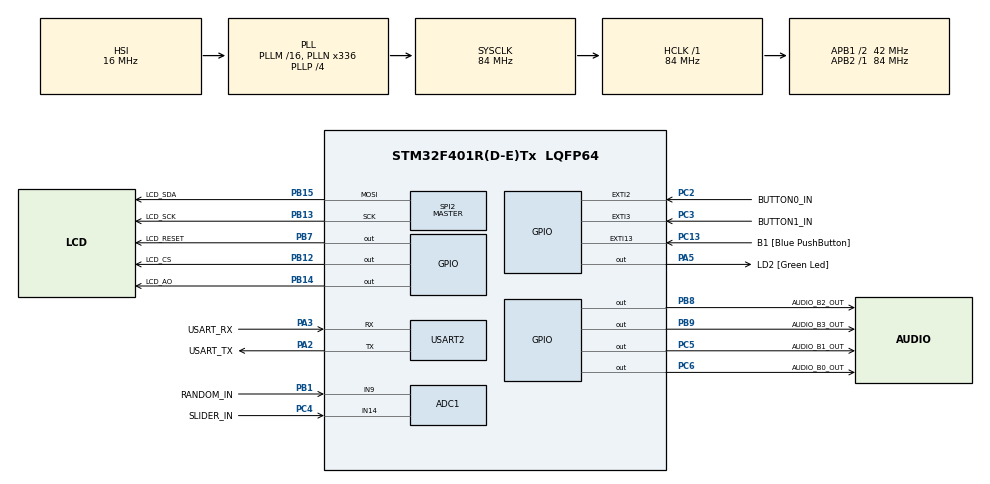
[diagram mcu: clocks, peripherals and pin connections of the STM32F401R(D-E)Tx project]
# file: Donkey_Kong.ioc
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ADC1.Channel-4\#ChannelRegularConversion=ADC_CHANNEL_14
ADC1.ContinuousConvMode=ENABLE
ADC1.NbrOfConversionFlag=1
ADC1.Rank-4\#ChannelRegularConversion=1
ADC1.SamplingTime-4\#ChannelRegularConversion=ADC_SAMPLETIME_3CYCLES
ADC1.master=1
Mcu.Family=STM32F4
Mcu.Name=STM32F401R(D-E)Tx
Mcu.Package=LQFP64
NVIC.EXTI2_IRQn=true\:0\:0\:false\:false\:true\:true\:true\:true
NVIC.EXTI3_IRQn=true\:0\:0\:false\:false\:true\:true\:true\:true
NVIC.PriorityGroup=NVIC_PRIORITYGROUP_4
NVIC.TIM1_UP_TIM10_IRQn=true\:0\:0\:false\:false\:true\:true\:true\:true
NVIC.TIM2_IRQn=true\:0\:0\:false\:false\:true\:true\:true\:true
NVIC.TIM5_IRQn=true\:0\:0\:false\:false\:true\:true\:true\:true
PA13.GPIO_Label=TMS
PA13.Mode=Trace_Asynchronous_SW
PA13.Signal=SYS_JTMS-SWDIO
PA14.GPIO_Label=TCK
PA14.Mode=Trace_Asynchronous_SW
PA14.Signal=SYS_JTCK-SWCLK
PA2.GPIO_Label=USART_TX
PA2.GPIO_Mode=GPIO_MODE_AF_PP
PA2.GPIO_PuPd=GPIO_NOPULL
PA2.GPIO_Speed=GPIO_SPEED_FREQ_LOW
PA2.Mode=Asynchronous
PA2.Signal=USART2_TX
PA3.GPIO_Label=USART_RX
PA3.GPIO_Mode=GPIO_MODE_AF_PP
PA3.GPIO_PuPd=GPIO_NOPULL
PA3.GPIO_Speed=GPIO_SPEED_FREQ_LOW
PA3.Mode=Asynchronous
PA3.Signal=USART2_RX
PA5.GPIO_Label=LD2 [Green Led]
PA5.GPIO_Mode=GPIO_MODE_OUTPUT_PP
PA5.GPIO_PuPd=GPIO_NOPULL
PA5.GPIO_Speed=GPIO_SPEED_FREQ_LOW
PA5.Signal=GPIO_Output
PB1.GPIO_Label=RANDOM_IN
PB1.Signal=ADCx_IN9
PB12.GPIO_Label=LCD_CS
PB12.Signal=GPIO_Output
PB13.GPIO_Label=LCD_SCK
PB13.Mode=TX_Only_Simplex_Unidirect_Master
PB13.Signal=SPI2_SCK
PB14.GPIO_Label=LCD_AO
PB14.Signal=GPIO_Output
PB15.GPIO_Label=LCD_SDA
PB15.Mode=TX_Only_Simplex_Unidirect_Master
PB15.Signal=SPI2_MOSI
PB3.GPIO_Label=SWO
PB3.Mode=Trace_Asynchronous_SW
PB3.Signal=SYS_JTDO-SWO
PB7.GPIO_Label=LCD_RESET
PB7.Signal=GPIO_Output
PB8.GPIO_Label=AUDIO_B2_OUT
PB8.Signal=GPIO_Output
PB9.GPIO_Label=AUDIO_B3_OUT
PB9.Signal=GPIO_Output
PC13-ANTI_TAMP.GPIO_Label=B1 [Blue PushButton]
PC13-ANTI_TAMP.GPIO_ModeDefaultEXTI=GPIO_MODE_IT_FALLING
PC13-ANTI_TAMP.GPIO_PuPd=GPIO_NOPULL
PC13-ANTI_TAMP.Signal=GPXTI13
PC14-OSC32_IN.Mode=LSE-External-Oscillator
PC14-OSC32_IN.Signal=RCC_OSC32_IN
PC15-OSC32_OUT.Mode=LSE-External-Oscillator
PC15-OSC32_OUT.Signal=RCC_OSC32_OUT
PC2.GPIO_Label=BUTTON0_IN
PC2.GPIO_ModeDefaultEXTI=GPIO_MODE_IT_RISING_FALLING
PC2.Signal=GPXTI2
PC3.GPIO_Label=BUTTON1_IN
PC3.GPIO_ModeDefaultEXTI=GPIO_MODE_IT_FALLING
PC3.Signal=GPXTI3
PC4.GPIO_Label=SLIDER_IN
PC4.Signal=ADCx_IN14
PC5.GPIO_Label=AUDIO_B1_OUT
PC5.Signal=GPIO_Output
PC6.GPIO_Label=AUDIO_B0_OUT
PC6.Signal=GPIO_Output
PH0\ -\ OSC_IN.Mode=HSE-External-Clock-Source
PH0\ -\ OSC_IN.Signal=RCC_OSC_IN
PH1\ -\ OSC_OUT.Mode=HSE-External-Clock-Source
PH1\ -\ OSC_OUT.Signal=RCC_OSC_OUT
ProjectManager.HeapSize=0x200
ProjectManager.StackSize=0x400
ProjectManager.TargetToolchain=STM32CubeIDE
RCC.48MHZClocksFreq_Value=48000000
RCC.AHBFreq_Value=84000000
RCC.APB1CLKDivider=RCC_HCLK_DIV2
RCC.APB1Freq_Value=42000000
RCC.APB1TimFreq_Value=84000000
RCC.APB2Freq_Value=84000000
RCC.APB2TimFreq_Value=84000000
RCC.CortexFreq_Value=84000000
RCC.HCLKFreq_Value=84000000
RCC.HSE_VALUE=8000000
RCC.HSI_VALUE=16000000
RCC.PLLN=336
RCC.PLLP=RCC_PLLP_DIV4
RCC.PLLQ=7
RCC.SYSCLKFreq_VALUE=84000000
RCC.SYSCLKSource=RCC_SYSCLKSOURCE_PLLCLK
RCC.VCOOutputFreq_Value=336000000
SH.ADCx_IN14.0=ADC1_IN14,IN14
SH.ADCx_IN9.0=ADC1_IN9,IN9
SPI2.Direction=SPI_DIRECTION_2LINES
SPI2.Mode=SPI_MODE_MASTER
SPI2.VirtualType=VM_MASTER
TIM1.AutoReloadPreload=TIM_AUTORELOAD_PRELOAD_ENABLE
TIM1.Period=0
TIM2.AutoReloadPreload=TIM_AUTORELOAD_PRELOAD_ENABLE
TIM2.Period=2800000
TIM5.Period=84000000
USART2.VirtualMode=VM_ASYNC
VP_TIM1_VS_ClockSourceINT.Mode=Internal
VP_TIM2_VS_ClockSourceINT.Mode=Internal
VP_TIM5_VS_ClockSourceINT.Mode=Internal
board=NUCLEO-F401RE

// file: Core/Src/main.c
/* USER CODE BEGIN Header */
/**
 ******************************************************************************
 * @file           : main.c
 * @brief          : Main program body
 ******************************************************************************
 * @attention
 *
 * Copyright (c) 2025 STMicroelectronics.
 * All rights reserved.
 *
 * This software is licensed under terms that can be found in the LICENSE file
 * in the root directory of this software component.
 * If no LICENSE file comes with this software, it is provided AS-IS.
 *
 ******************************************************************************
 */
/* USER CODE END Header */
#include "main.h"

/* USER CODE BEGIN Includes */
#include "slider.h"
#include "button.h"
#include "audio.h"
#include "st7735.h"
#include "fonts.h"
#include "testimg.h"
#include "game.h"
//#include "graphics.h"

#include <stdio.h>

/* USER CODE END Includes */

ADC_HandleTypeDef hadc1;

SPI_HandleTypeDef hspi2;

UART_HandleTypeDef huart2;

void SystemClock_Config(void);
static void MX_GPIO_Init(void);
static void MX_USART2_UART_Init(void);
static void MX_ADC1_Init(void);
static void MX_TIM2_Init(void);
static void MX_TIM5_Init(void);
static void MX_SPI2_Init(void);
static void MX_TIM1_Init(void);

int main(void)
{

  /* MCU Configuration--------------------------------------------------------*/

  /* Reset of all peripherals, Initializes the Flash interface and the Systick. */
  HAL_Init();

  /* Configure the system clock */
  SystemClock_Config();

  /* Initialize all configured peripherals */
  MX_GPIO_Init();
  MX_USART2_UART_Init();
  MX_ADC1_Init();
  MX_TIM2_Init();
  MX_TIM5_Init();
  MX_SPI2_Init();
  MX_TIM1_Init();

  /* Infinite loop */
  /* USER CODE BEGIN WHILE */
	while (1) {
		gameplay();
    /* USER CODE END WHILE */

	}
}

void SystemClock_Config(void)
{
  RCC_OscInitTypeDef RCC_OscInitStruct = {0};
  RCC_ClkInitTypeDef RCC_ClkInitStruct = {0};

  /** Configure the main internal regulator output voltage
  */
  __HAL_RCC_PWR_CLK_ENABLE();
  __HAL_PWR_VOLTAGESCALING_CONFIG(PWR_REGULATOR_VOLTAGE_SCALE2);

  /** Initializes the RCC Oscillators according to the specified parameters
  * in the RCC_OscInitTypeDef structure.
  */
  RCC_OscInitStruct.OscillatorType = RCC_OSCILLATORTYPE_HSI;
  RCC_OscInitStruct.HSIState = RCC_HSI_ON;
  RCC_OscInitStruct.HSICalibrationValue = RCC_HSICALIBRATION_DEFAULT;
  RCC_OscInitStruct.PLL.PLLState = RCC_PLL_ON;
  RCC_OscInitStruct.PLL.PLLSource = RCC_PLLSOURCE_HSI;
  RCC_OscInitStruct.PLL.PLLM = 16;
  RCC_OscInitStruct.PLL.PLLN = 336;
  RCC_OscInitStruct.PLL.PLLP = RCC_PLLP_DIV4;
  RCC_OscInitStruct.PLL.PLLQ = 7;
  if (HAL_RCC_OscConfig(&RCC_OscInitStruct) != HAL_OK)
  {
    Error_Handler();
  }

  /** Initializes the CPU, AHB and APB buses clocks
  */
  RCC_ClkInitStruct.ClockType = RCC_CLOCKTYPE_HCLK|RCC_CLOCKTYPE_SYSCLK
                              |RCC_CLOCKTYPE_PCLK1|RCC_CLOCKTYPE_PCLK2;
  RCC_ClkInitStruct.SYSCLKSource = RCC_SYSCLKSOURCE_PLLCLK;
  RCC_ClkInitStruct.AHBCLKDivider = RCC_SYSCLK_DIV1;
  RCC_ClkInitStruct.APB1CLKDivider = RCC_HCLK_DIV2;
  RCC_ClkInitStruct.APB2CLKDivider = RCC_HCLK_DIV1;

  if (HAL_RCC_ClockConfig(&RCC_ClkInitStruct, FLASH_LATENCY_2) != HAL_OK)
  {
    Error_Handler();
  }
}

static void MX_ADC1_Init(void)
{

  ADC_ChannelConfTypeDef sConfig = {0};

  /** Configure the global features of the ADC (Clock, Resolution, Data Alignment and number of conversion)
  */
  hadc1.Instance = ADC1;
  hadc1.Init.ClockPrescaler = ADC_CLOCK_SYNC_PCLK_DIV4;
  hadc1.Init.Resolution = ADC_RESOLUTION_12B;
  hadc1.Init.ScanConvMode = DISABLE;
  hadc1.Init.ContinuousConvMode = ENABLE;
  hadc1.Init.DiscontinuousConvMode = DISABLE;
  hadc1.Init.ExternalTrigConvEdge = ADC_EXTERNALTRIGCONVEDGE_NONE;
  hadc1.Init.ExternalTrigConv = ADC_SOFTWARE_START;
  hadc1.Init.DataAlign = ADC_DATAALIGN_RIGHT;
  hadc1.Init.NbrOfConversion = 1;
  hadc1.Init.DMAContinuousRequests = DISABLE;
  hadc1.Init.EOCSelection = ADC_EOC_SINGLE_CONV;
  if (HAL_ADC_Init(&hadc1) != HAL_OK)
  {
    Error_Handler();
  }

  /** Configure for the selected ADC regular channel its corresponding rank in the sequencer and its sample time.
  */
  sConfig.Channel = ADC_CHANNEL_14;
  sConfig.Rank = 1;
  sConfig.SamplingTime = ADC_SAMPLETIME_3CYCLES;
  if (HAL_ADC_ConfigChannel(&hadc1, &sConfig) != HAL_OK)
  {
    Error_Handler();
  }

}

static void MX_SPI2_Init(void)
{

  /* SPI2 parameter configuration*/
  hspi2.Instance = SPI2;
  hspi2.Init.Mode = SPI_MODE_MASTER;
  hspi2.Init.Direction = SPI_DIRECTION_2LINES;
  hspi2.Init.DataSize = SPI_DATASIZE_8BIT;
  hspi2.Init.CLKPolarity = SPI_POLARITY_LOW;
  hspi2.Init.CLKPhase = SPI_PHASE_1EDGE;
  hspi2.Init.NSS = SPI_NSS_SOFT;
  hspi2.Init.BaudRatePrescaler = SPI_BAUDRATEPRESCALER_2;
  hspi2.Init.FirstBit = SPI_FIRSTBIT_MSB;
  hspi2.Init.TIMode = SPI_TIMODE_DISABLE;
  hspi2.Init.CRCCalculation = SPI_CRCCALCULATION_DISABLE;
  hspi2.Init.CRCPolynomial = 10;
  if (HAL_SPI_Init(&hspi2) != HAL_OK)
  {
    Error_Handler();
  }

}

static void MX_TIM1_Init(void)
{

  TIM_ClockConfigTypeDef sClockSourceConfig = {0};
  TIM_MasterConfigTypeDef sMasterConfig = {0};

  htim1.Instance = TIM1;
  htim1.Init.Prescaler = 0;
  htim1.Init.CounterMode = TIM_COUNTERMODE_UP;
  htim1.Init.Period = 7620;
  htim1.Init.ClockDivision = TIM_CLOCKDIVISION_DIV1;
  htim1.Init.RepetitionCounter = 0;
  htim1.Init.AutoReloadPreload = TIM_AUTORELOAD_PRELOAD_ENABLE;
  if (HAL_TIM_Base_Init(&htim1) != HAL_OK)
  {
    Error_Handler();
  }
  sClockSourceConfig.ClockSource = TIM_CLOCKSOURCE_INTERNAL;
  if (HAL_TIM_ConfigClockSource(&htim1, &sClockSourceConfig) != HAL_OK)
  {
    Error_Handler();
  }
  sMasterConfig.MasterOutputTrigger = TIM_TRGO_RESET;
  sMasterConfig.MasterSlaveMode = TIM_MASTERSLAVEMODE_DISABLE;
  if (HAL_TIMEx_MasterConfigSynchronization(&htim1, &sMasterConfig) != HAL_OK)
  {
    Error_Handler();
  }

}

static void MX_TIM2_Init(void)
{

  TIM_ClockConfigTypeDef sClockSourceConfig = {0};
  TIM_MasterConfigTypeDef sMasterConfig = {0};

  htim2.Instance = TIM2;
  htim2.Init.Prescaler = 0;
  htim2.Init.CounterMode = TIM_COUNTERMODE_UP;
  htim2.Init.Period = 2800000;
  htim2.Init.ClockDivision = TIM_CLOCKDIVISION_DIV1;
  htim2.Init.AutoReloadPreload = TIM_AUTORELOAD_PRELOAD_ENABLE;
  if (HAL_TIM_Base_Init(&htim2) != HAL_OK)
  {
    Error_Handler();
  }
  sClockSourceConfig.ClockSource = TIM_CLOCKSOURCE_INTERNAL;
  if (HAL_TIM_ConfigClockSource(&htim2, &sClockSourceConfig) != HAL_OK)
  {
    Error_Handler();
  }
  sMasterConfig.MasterOutputTrigger = TIM_TRGO_RESET;
  sMasterConfig.MasterSlaveMode = TIM_MASTERSLAVEMODE_DISABLE;
  if (HAL_TIMEx_MasterConfigSynchronization(&htim2, &sMasterConfig) != HAL_OK)
  {
    Error_Handler();
  }

}

static void MX_TIM5_Init(void)
{

  TIM_ClockConfigTypeDef sClockSourceConfig = {0};
  TIM_MasterConfigTypeDef sMasterConfig = {0};

  htim5.Instance = TIM5;
  htim5.Init.Prescaler = 0;
  htim5.Init.CounterMode = TIM_COUNTERMODE_UP;
  htim5.Init.Period = 84000000;
  htim5.Init.ClockDivision = TIM_CLOCKDIVISION_DIV1;
  htim5.Init.AutoReloadPreload = TIM_AUTORELOAD_PRELOAD_DISABLE;
  if (HAL_TIM_Base_Init(&htim5) != HAL_OK)
  {
    Error_Handler();
  }
  sClockSourceConfig.ClockSource = TIM_CLOCKSOURCE_INTERNAL;
  if (HAL_TIM_ConfigClockSource(&htim5, &sClockSourceConfig) != HAL_OK)
  {
    Error_Handler();
  }
  sMasterConfig.MasterOutputTrigger = TIM_TRGO_RESET;
  sMasterConfig.MasterSlaveMode = TIM_MASTERSLAVEMODE_DISABLE;
  if (HAL_TIMEx_MasterConfigSynchronization(&htim5, &sMasterConfig) != HAL_OK)
  {
    Error_Handler();
  }

}

static void MX_USART2_UART_Init(void)
{

  huart2.Instance = USART2;
  huart2.Init.BaudRate = 115200;
  huart2.Init.WordLength = UART_WORDLENGTH_8B;
  huart2.Init.StopBits = UART_STOPBITS_1;
  huart2.Init.Parity = UART_PARITY_NONE;
  huart2.Init.Mode = UART_MODE_TX_RX;
  huart2.Init.HwFlowCtl = UART_HWCONTROL_NONE;
  huart2.Init.OverSampling = UART_OVERSAMPLING_16;
  if (HAL_UART_Init(&huart2) != HAL_OK)
  {
    Error_Handler();
  }

}

static void MX_GPIO_Init(void)
{
  GPIO_InitTypeDef GPIO_InitStruct = {0};

  /* GPIO Ports Clock Enable */
  __HAL_RCC_GPIOC_CLK_ENABLE();
  __HAL_RCC_GPIOH_CLK_ENABLE();
  __HAL_RCC_GPIOA_CLK_ENABLE();
  __HAL_RCC_GPIOB_CLK_ENABLE();

  /*Configure GPIO pin Output Level */
  HAL_GPIO_WritePin(LD2_GPIO_Port, LD2_Pin, GPIO_PIN_RESET);

  /*Configure GPIO pin Output Level */
  HAL_GPIO_WritePin(GPIOC, AUDIO_B1_OUT_Pin|AUDIO_B0_OUT_Pin, GPIO_PIN_RESET);

  /*Configure GPIO pin Output Level */
  HAL_GPIO_WritePin(GPIOB, LCD_CS_Pin|LCD_AO_Pin|LCD_RESET_Pin|AUDIO_B2_OUT_Pin
                          |AUDIO_B3_OUT_Pin, GPIO_PIN_RESET);

  /*Configure GPIO pins : B1_Pin BUTTON1_IN_Pin */
  GPIO_InitStruct.Pin = B1_Pin|BUTTON1_IN_Pin;
  GPIO_InitStruct.Mode = GPIO_MODE_IT_FALLING;
  GPIO_InitStruct.Pull = GPIO_NOPULL;
  HAL_GPIO_Init(GPIOC, &GPIO_InitStruct);

  /*Configure GPIO pin : BUTTON0_IN_Pin */
  GPIO_InitStruct.Pin = BUTTON0_IN_Pin;
  GPIO_InitStruct.Mode = GPIO_MODE_IT_RISING_FALLING;
  GPIO_InitStruct.Pull = GPIO_NOPULL;
  HAL_GPIO_Init(BUTTON0_IN_GPIO_Port, &GPIO_InitStruct);

  /*Configure GPIO pin : LD2_Pin */
  GPIO_InitStruct.Pin = LD2_Pin;
  GPIO_InitStruct.Mode = GPIO_MODE_OUTPUT_PP;
  GPIO_InitStruct.Pull = GPIO_NOPULL;
  GPIO_InitStruct.Speed = GPIO_SPEED_FREQ_LOW;
  HAL_GPIO_Init(LD2_GPIO_Port, &GPIO_InitStruct);

  /*Configure GPIO pins : AUDIO_B1_OUT_Pin AUDIO_B0_OUT_Pin */
  GPIO_InitStruct.Pin = AUDIO_B1_OUT_Pin|AUDIO_B0_OUT_Pin;
  GPIO_InitStruct.Mode = GPIO_MODE_OUTPUT_PP;
  GPIO_InitStruct.Pull = GPIO_NOPULL;
  GPIO_InitStruct.Speed = GPIO_SPEED_FREQ_LOW;
  HAL_GPIO_Init(GPIOC, &GPIO_InitStruct);

  /*Configure GPIO pins : LCD_CS_Pin LCD_AO_Pin LCD_RESET_Pin AUDIO_B2_OUT_Pin
                           AUDIO_B3_OUT_Pin */
  GPIO_InitStruct.Pin = LCD_CS_Pin|LCD_AO_Pin|LCD_RESET_Pin|AUDIO_B2_OUT_Pin
                          |AUDIO_B3_OUT_Pin;
  GPIO_InitStruct.Mode = GPIO_MODE_OUTPUT_PP;
  GPIO_InitStruct.Pull = GPIO_NOPULL;
  GPIO_InitStruct.Speed = GPIO_SPEED_FREQ_LOW;
  HAL_GPIO_Init(GPIOB, &GPIO_InitStruct);

  /* EXTI interrupt init*/
  HAL_NVIC_SetPriority(EXTI2_IRQn, 0, 0);
  HAL_NVIC_EnableIRQ(EXTI2_IRQn);

  HAL_NVIC_SetPriority(EXTI3_IRQn, 0, 0);
  HAL_NVIC_EnableIRQ(EXTI3_IRQn);

}

/* USER CODE BEGIN 4 */

int _write(int file, char *ptr, int len) {

	int DataIdx;

	for (DataIdx = 0; DataIdx < len; DataIdx++) {
		ITM_SendChar(*ptr++);
	}
	return len;
}

void loop() {
	// Check border
	ST7735_FillScreen(ST7735_BLACK);

	for (int x = 0; x < ST7735_WIDTH; x++) {
		ST7735_DrawPixel(x, 0, ST7735_RED);
		ST7735_DrawPixel(x, ST7735_HEIGHT - 1, ST7735_RED);
	}

	for (int y = 0; y < ST7735_HEIGHT; y++) {
		ST7735_DrawPixel(0, y, ST7735_RED);
		ST7735_DrawPixel(ST7735_WIDTH - 1, y, ST7735_RED);
	}

	HAL_Delay(3000);

	// Check fonts
	ST7735_FillScreen(ST7735_BLACK);
	ST7735_WriteString(0, 0,
			"Font_7x10, red on black, lorem ipsum dolor sit amet", Font_7x10,
			ST7735_RED, ST7735_BLACK);
	ST7735_WriteString(0, 3 * 10, "Font_11x18, green, lorem ipsum", Font_11x18,
	ST7735_GREEN, ST7735_BLACK);
	ST7735_WriteString(0, 3 * 10 + 3 * 18, "Font_16x26", Font_16x26,
	ST7735_BLUE, ST7735_BLACK);
	HAL_Delay(2000);

	// Check colors
	ST7735_FillScreen(ST7735_BLACK);
	ST7735_WriteString(0, 0, "BLACK", Font_11x18, ST7735_WHITE, ST7735_BLACK);
	HAL_Delay(500);

	ST7735_FillScreen(ST7735_BLUE);
	ST7735_WriteString(0, 0, "BLUE", Font_11x18, ST7735_BLACK, ST7735_BLUE);
	HAL_Delay(500);

	ST7735_FillScreen(ST7735_RED);
	ST7735_WriteString(0, 0, "RED", Font_11x18, ST7735_BLACK, ST7735_RED);
	HAL_Delay(500);

	ST7735_FillScreen(ST7735_GREEN);
	ST7735_WriteString(0, 0, "GREEN", Font_11x18, ST7735_BLACK, ST7735_GREEN);
	HAL_Delay(500);

	ST7735_FillScreen(ST7735_CYAN);
	ST7735_WriteString(0, 0, "CYAN", Font_11x18, ST7735_BLACK, ST7735_CYAN);
	HAL_Delay(500);

	ST7735_FillScreen(ST7735_MAGENTA);
	ST7735_WriteString(0, 0, "MAGENTA", Font_11x18, ST7735_BLACK,
	ST7735_MAGENTA);
	HAL_Delay(500);

	ST7735_FillScreen(ST7735_YELLOW);
	ST7735_WriteString(0, 0, "YELLOW", Font_11x18, ST7735_BLACK, ST7735_YELLOW);
	HAL_Delay(500);

	ST7735_FillScreen(ST7735_WHITE);
	ST7735_WriteString(0, 0, "WHITE", Font_11x18, ST7735_BLACK, ST7735_WHITE);
	HAL_Delay(500);

//#ifdef ST7735_IS_128X128
	// Display test image 128x128
//    ST7735_DrawImage(0, 0, ST7735_WIDTH, ST7735_HEIGHT, (uint16_t*)test_img_128x128);

	HAL_Delay(15000);
//#endif // ST7735_IS_128X128

}

/* USER CODE END 4 */

void Error_Handler(void)
{
	__disable_irq();
	while (1) {
	}
}
